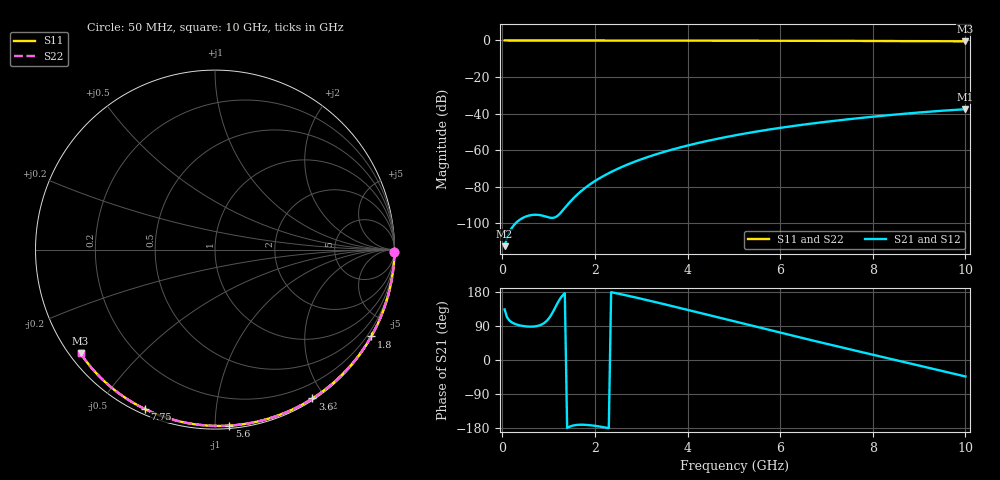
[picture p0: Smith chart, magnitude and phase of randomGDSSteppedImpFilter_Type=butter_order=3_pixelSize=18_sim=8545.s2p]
! freq	dB(S11)	phase(S11)	dB(S12)	phase(S12)
!  dB(S21)	phase(S21)	dB(S22)	phase(S22)
!S-par simulation data
#  GHz  S  DB  R 50
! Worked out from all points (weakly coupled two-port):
!   200 points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, 50 MHz to 10 GHz, reference 50 ohm
!   highest |S21| = -37.63 dB at 10 GHz (marker M1); lowest = -112.6 dB at 50 MHz (marker M2)
!   lowest |S11| = -0.5 dB at 10 GHz (marker M3), VSWR 36.36, Z = 1.53 - j17 ohm
!   |S11| at or under -10 dB: nowhere
!   |S22| runs from -0.5 to 0.0 dB; largest |S21 - S12| = 0
!   S11 on the Smith chart (normalised r, x): 50 MHz: open; 1.8 GHz: 0.03, -3.85; 3.6 GHz: 0.02, -1.85; 5.6 GHz: 0.02, -1.08; 7.75 GHz: 0.02, -0.65; 10 GHz: 0.03, -0.34
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0.05  -0.00 -0.8  -112.57 133.6  -112.57 133.6  -0.00 -0.8
0.45  -0.01 -7.4  -97.00 89.7  -97.00 89.7  -0.01 -7.4
0.9  -0.02 -14.7  -96.06 97.2  -96.06 97.2  -0.02 -14.7
1.75  -0.04 -28.3  -81.46 -170.9  -81.46 -170.9  -0.04 -28.3
1.8  -0.04 -29.1  -80.47 -171.1  -80.47 -171.1  -0.04 -29.1
1.85  -0.04 -29.9  -79.53 -171.6  -79.53 -171.6  -0.04 -29.9
2.05  -0.04 -33.0  -76.15 -174.6  -76.15 -174.6  -0.04 -33.0
2.2  -0.04 -35.4  -73.95 -177.6  -73.95 -177.6  -0.04 -35.4
2.55  -0.05 -40.8  -69.56 173.9  -69.56 173.9  -0.05 -40.8
2.95  -0.06 -47.0  -65.48 163.0  -65.48 163.0  -0.06 -47.0
3.4  -0.07 -53.8  -61.68 150.1  -61.68 150.1  -0.07 -53.8
3.6  -0.08 -56.8  -60.19 144.2  -60.19 144.2  -0.08 -56.8
4.3  -0.09 -67.1  -55.69 123.3  -55.69 123.3  -0.09 -67.1
5.05  -0.12 -77.8  -51.80 100.7  -51.80 100.7  -0.12 -77.8
5.6  -0.14 -85.4  -49.39 84.1  -49.39 84.1  -0.14 -85.4
6.15  -0.16 -92.9  -47.28 67.7  -47.28 67.7  -0.16 -92.9
6.7  -0.19 -100.2  -45.42 51.5  -45.42 51.5  -0.19 -100.2
7.2  -0.22 -106.7  -43.89 37.0  -43.89 37.0  -0.22 -106.7
7.75  -0.26 -113.8  -42.37 21.2  -42.37 21.2  -0.26 -113.8
8.35  -0.31 -121.5  -40.87 4.1  -40.87 4.1  -0.31 -121.5
9.2  -0.39 -132.2  -39.02 -20.2  -39.02 -20.2  -0.39 -132.2
10  -0.48 -142.3  -37.63 -43.4  -37.63 -43.4  -0.48 -142.3
